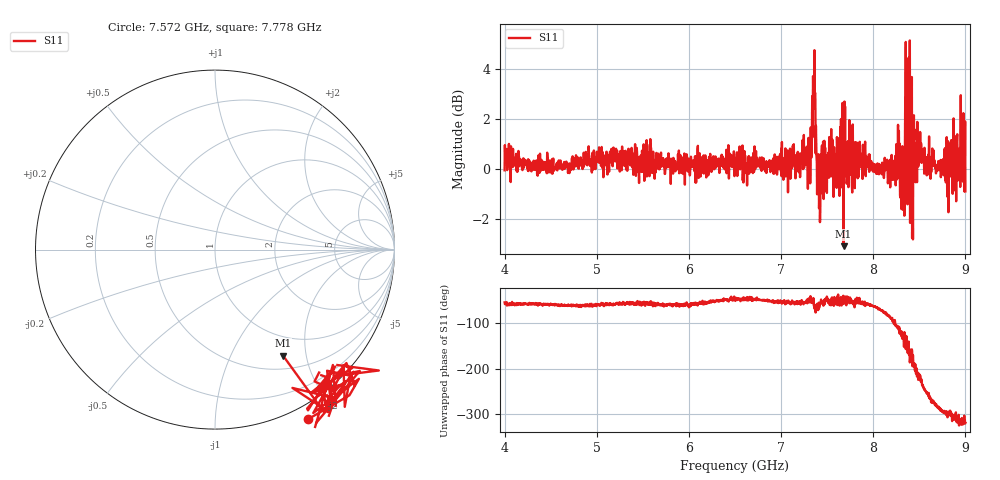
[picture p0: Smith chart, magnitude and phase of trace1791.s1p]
! Created with skrf 1.8.0 (http://scikit-rf.org).
# Hz S RI R 50.0
!freq ReS11 ImS11
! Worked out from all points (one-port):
!   1601 points, 4 GHz to 9 GHz, reference 50 ohm
!   lowest |S11| = -3.1 dB at 7.678 GHz (marker M1), VSWR 5.69, Z = 34.6 - j80.4 ohm
!   |S11| at or under -10 dB: nowhere
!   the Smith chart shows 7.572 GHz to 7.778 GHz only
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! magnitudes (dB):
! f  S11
! 4 GHz  -0.1
! 4.625 GHz  0.0
! 5.25 GHz  -0.1
! 5.875 GHz  0.0
! 6.5 GHz  0.4
! 7.125 GHz  0.7
! 7.294 GHz  0.1
! 7.356 GHz  3.0
! 7.412 GHz  -1.6
! 7.453 GHz  -0.3
! 7.609 GHz  1.0
! 7.65 GHz  2.0
! 7.678 GHz  -3.1
! 7.703 GHz  -0.3
! 7.75 GHz  0.2
! 8.097 GHz  0.2
! 8.262 GHz  -0.4
! 8.316 GHz  0.9
! 8.334 GHz  -0.3
! 8.356 GHz  2.0
! 8.372 GHz  -1.4
! 8.375 GHz  0.1
! 8.425 GHz  -1.0
! 8.459 GHz  -0.5
! 8.806 GHz  0.6
! 8.956 GHz  0.3
! 8.972 GHz  0.5
! 9 GHz  -0.9
